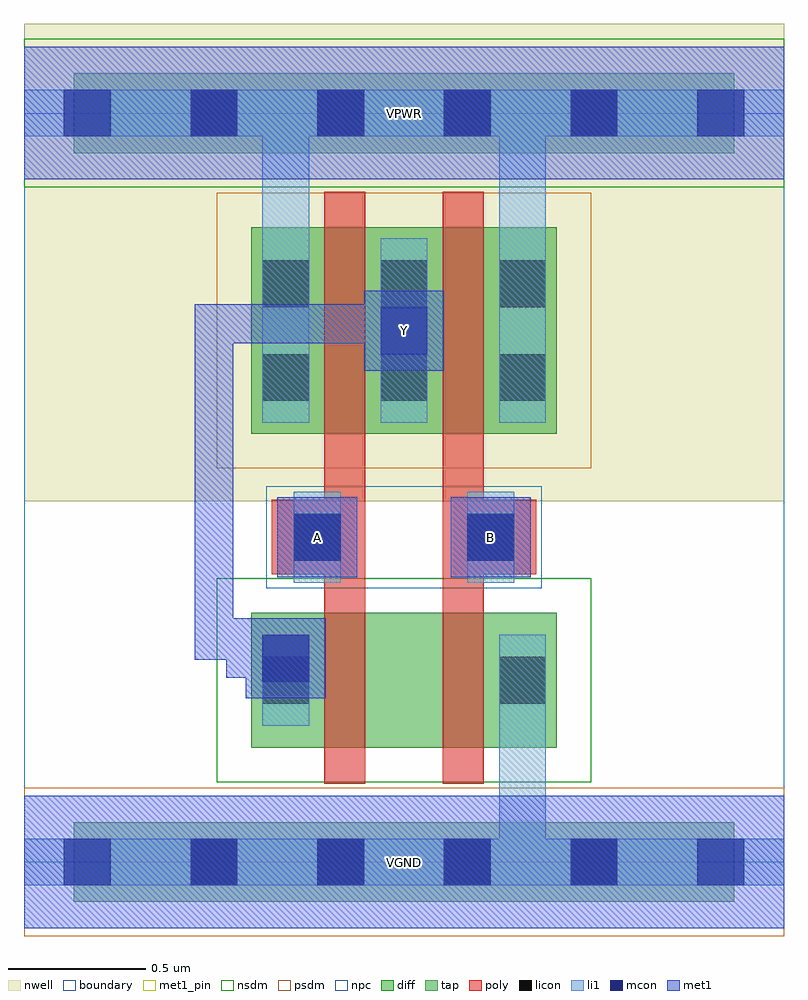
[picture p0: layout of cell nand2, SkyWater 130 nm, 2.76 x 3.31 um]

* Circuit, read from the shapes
.subckt nand2 A B VGND VPWR Y
XM1 n1 A Y VGND sky130_fd_pr__nfet_01v8 w=0.49 l=0.15
XM2 VGND B n1 VGND sky130_fd_pr__nfet_01v8 w=0.49 l=0.15
XM3 Y A VPWR VPWR sky130_fd_pr__pfet_01v8 w=0.75 l=0.15
XM4 VPWR B Y VPWR sky130_fd_pr__pfet_01v8 w=0.75 l=0.15
.ends

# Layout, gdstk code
import gdstk
lib = gdstk.Library(unit=1e-6, precision=1e-09)
def R(c, l, rs):  # rectangles x0, y0, x1, y1
    for r in rs: c.add(gdstk.rectangle(r[:2], r[2:], *l))
def A(c, l, x, y, w, h, nx, ny, dx, dy):  # array of equal rectangles
    R(c, l, [(x+i*dx, y+j*dy, x+i*dx+w, y+j*dy+h) for i in range(nx) for j in range(ny)])
nwell = (64, 20)
diff = (65, 20)
tap = (65, 44)
poly = (66, 20)
licon = (66, 44)
li1 = (67, 20)
mcon = (67, 44)
met1_pin = (68, 16)
met1 = (68, 20)
nsdm = (93, 44)
psdm = (94, 20)
npc = (95, 20)
boundary = (235, 4)

nand2 = lib.new_cell('nand2')
R(nand2, nwell, [(0,1.31,2.76,3.045)])
R(nand2, diff, [(0.825,0.415,1.935,0.905), (0.825,1.555,1.935,2.305)])
R(nand2, tap, [(0.18,-0.145,2.58,0.145), (0.18,2.575,2.58,2.865)])
R(nand2, poly, [(1.09,0.285,1.24,2.435), (1.52,0.285,1.67,2.435), (0.9,1.045,1.23,1.315), (1.53,1.045,1.86,1.315)])
A(nand2, licon, 0.605, -0.085, 0.17, 0.17, 4, 2, 0.46, 2.72)
A(nand2, licon, 0.865, 1.675, 0.17, 0.17, 3, 2, 0.43, 0.34)
R(nand2, licon, [(0.865,0.575,1.035,0.745), (1.725,0.575,1.895,0.745), (0.98,1.095,1.15,1.265), (1.61,1.095,1.78,1.265)])
A(nand2, li1, 0.865, 1.595, 0.17, 0.67, 3, 1, 0.43, 0)
R(nand2, li1, [(0,-0.085,2.76,0.085), (1.725,-0.085,1.895,0.825), (0.865,0.495,1.035,0.825), (1.725,0.495,1.895,0.825), (0.98,1.015,1.15,1.345), (1.61,1.015,1.78,1.345), (0.865,1.595,1.035,2.805), (1.725,1.595,1.895,2.805), (0,2.635,2.76,2.805)])
A(nand2, mcon, 0.145, -0.085, 0.17, 0.17, 6, 2, 0.46, 2.72)
R(nand2, mcon, [(0.865,0.655,1.035,0.825), (0.98,1.095,1.15,1.265), (1.61,1.095,1.78,1.265), (1.295,1.845,1.465,2.015)])
R(nand2, met1_pin, [(0,-0.24,2.76,0.24), (0.92,1.035,1.21,1.325), (1.55,1.035,1.84,1.325), (1.235,1.785,1.525,2.075), (0,2.48,2.76,2.96)])
R(nand2, met1, [(0,-0.24,2.76,0.24), (0.805,0.595,1.095,0.885), (0.735,0.67,1.02,0.81), (0.735,0.67,0.875,0.875), (0.62,0.735,0.76,2.025), (0.62,0.735,0.875,0.875), (0.76,0.735,0.805,0.885), (0.92,1.035,1.21,1.325), (1.55,1.035,1.84,1.325), (1.235,1.785,1.525,2.075), (0.62,1.885,1.45,2.025), (1.31,1.885,1.45,2.025), (0,2.48,2.76,2.96)])
R(nand2, nsdm, [(0.7,0.29,2.06,1.03), (0,2.45,2.76,2.99)])
R(nand2, psdm, [(0,-0.27,2.76,0.27), (0.7,1.43,2.06,2.43)])
R(nand2, npc, [(0.88,0.995,1.88,1.365)])
R(nand2, boundary, [(0,0,2.76,2.72)])
nand2.add(gdstk.Label('A', (1.065,1.18), layer=68, texttype=5))
nand2.add(gdstk.Label('B', (1.695,1.18), layer=68, texttype=5))
nand2.add(gdstk.Label('Y', (1.38,1.93), layer=68, texttype=5))
nand2.add(gdstk.Label('VPWR', (1.38,2.72), layer=68, texttype=5))
nand2.add(gdstk.Label('VGND', (1.38,0), layer=68, texttype=5))
nand2.add(gdstk.Label('A', (1.065,1.18), layer=68, texttype=16))
nand2.add(gdstk.Label('B', (1.695,1.18), layer=68, texttype=16))
nand2.add(gdstk.Label('Y', (1.38,1.93), layer=68, texttype=16))
nand2.add(gdstk.Label('VPWR', (1.38,2.72), layer=68, texttype=16))
nand2.add(gdstk.Label('VGND', (1.38,0), layer=68, texttype=16))

lib.write_gds('nand2.gds')
